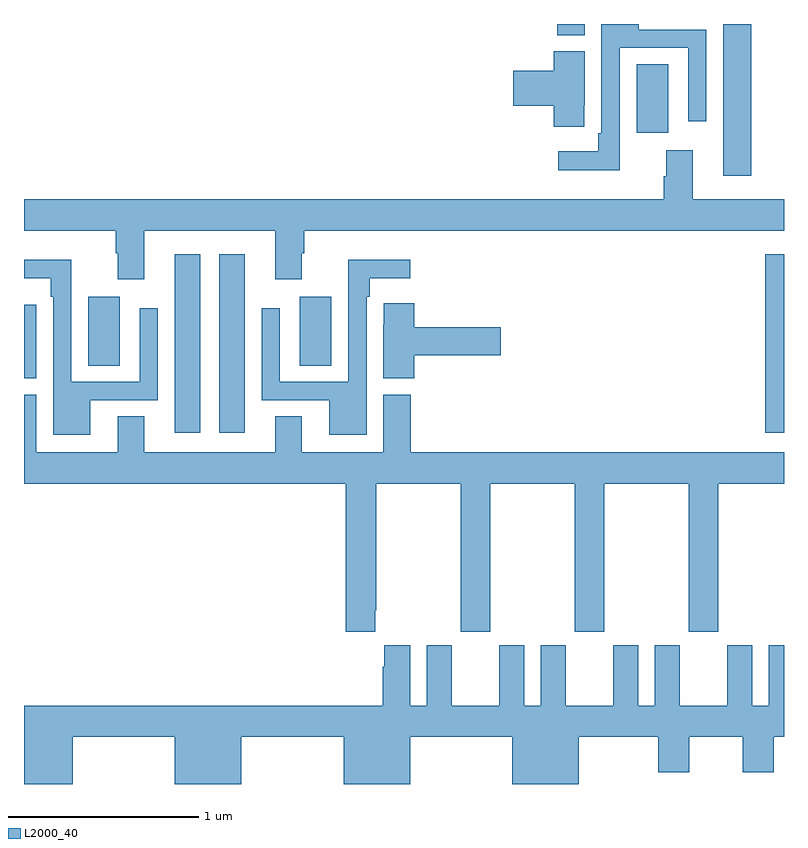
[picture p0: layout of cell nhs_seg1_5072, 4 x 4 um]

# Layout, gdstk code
import gdstk
lib = gdstk.Library(unit=1e-6, precision=1e-09)
def R(c, l, rs):  # rectangles x0, y0, x1, y1
    for r in rs: c.add(gdstk.rectangle(r[:2], r[2:], *l))
def P(c, l, *ps):  # polygons
    for p in ps: c.add(gdstk.Polygon(p, *l))
L2000_40 = (2000, 40)

nhs_seg1_5072 = lib.new_cell('nhs_seg1_5072')
R(nhs_seg1_5072, L2000_40, [(387.794,504.048,387.928,504.988), (388.028,504.048,388.162,504.988), (390.902,504.048,391,504.988), (387,504.334,387.064,504.721), (387.338,504.4,387.505,504.763), (388.451,504.4,388.618,504.763), (390.68,505.401,390.827,506.199), (390.224,505.626,390.391,505.988), (389.807,506.14,389.95,506.199)])
P(nhs_seg1_5072, L2000_40, [(390.135,506.073),(390.495,506.073),(390.495,505.686),(390.591,505.686),(390.591,506.169),(390.235,506.169),(390.235,506.199),(390.039,506.199),(390.039,505.624),(390.023,505.624),(390.023,505.528),(389.811,505.528),(389.811,505.43),(390.135,505.43)],
  [(389.949,505.771),(389.95,505.771),(389.95,506.055),(389.789,506.055),(389.789,505.952),(389.574,505.952),(389.574,505.769),(389.789,505.769),(389.789,505.659),(389.949,505.659)],
  [(387.634,505.112),(388.322,505.112),(388.322,504.855),(388.462,504.855),(388.462,504.992),(388.475,504.992),(388.475,505.112),(391,505.112),(391,505.276),(390.52,505.276),(390.52,505.534),(390.38,505.534),(390.38,505.397),(390.368,505.397),(390.368,505.276),(387,505.276),(387,505.112),(387.482,505.112),(387.482,504.992),(387.494,504.992),(387.494,504.855),(387.634,504.855)],
  [(387.349,504.219),(387.705,504.219),(387.705,504.703),(387.609,504.703),(387.609,504.315),(387.249,504.315),(387.249,504.958),(387,504.958),(387,504.86),(387.141,504.86),(387.141,504.764),(387.153,504.764),(387.153,504.038),(387.349,504.038)],
  [(388.803,504.764),(388.819,504.764),(388.819,504.86),(389.032,504.86),(389.032,504.958),(388.707,504.958),(388.707,504.315),(388.347,504.315),(388.347,504.703),(388.251,504.703),(388.251,504.219),(388.607,504.219),(388.607,504.038),(388.803,504.038)],
  [(389.054,504.455),(389.509,504.455),(389.509,504.602),(389.054,504.602),(389.054,504.73),(388.893,504.73),(388.893,504.617),(388.892,504.617),(388.892,504.334),(389.054,504.334)],
  [(388.462,504.134),(388.322,504.134),(388.322,503.944),(387.634,503.944),(387.634,504.134),(387.494,504.134),(387.494,503.944),(387.064,503.944),(387.064,504.249),(387,504.249),(387,503.78),(388.694,503.78),(388.694,503.001),(388.849,503.001),(388.849,503.113),(388.854,503.113),(388.854,503.78),(389.299,503.78),(389.299,503.001),(389.454,503.001),(389.454,503.78),(389.899,503.78),(389.899,503.001),(390.054,503.001),(390.054,503.78),(390.499,503.78),(390.499,503.001),(390.654,503.001),(390.654,503.78),(391,503.78),(391,503.944),(389.036,503.944),(389.036,504.249),(388.892,504.249),(388.892,503.944),(388.462,503.944)],
  [(387.256,502.448),(387.794,502.448),(387.794,502.199),(388.144,502.199),(388.144,502.448),(388.682,502.448),(388.682,502.199),(389.032,502.199),(389.032,502.448),(389.57,502.448),(389.57,502.199),(389.92,502.199),(389.92,502.448),(390.338,502.448),(390.338,502.26),(390.502,502.26),(390.502,502.448),(390.782,502.448),(390.782,502.26),(390.946,502.26),(390.946,502.448),(391,502.448),(391,502.93),(390.92,502.93),(390.92,502.612),(390.832,502.612),(390.832,502.93),(390.701,502.93),(390.701,502.612),(390.451,502.612),(390.451,502.93),(390.32,502.93),(390.32,502.612),(390.232,502.612),(390.232,502.93),(390.101,502.93),(390.101,502.612),(389.851,502.612),(389.851,502.93),(389.72,502.93),(389.72,502.612),(389.632,502.612),(389.632,502.93),(389.501,502.93),(389.501,502.612),(389.251,502.612),(389.251,502.93),(389.12,502.93),(389.12,502.612),(389.032,502.612),(389.032,502.93),(388.895,502.93),(388.895,502.817),(388.889,502.817),(388.889,502.612),(387,502.612),(387,502.199),(387.256,502.199)])

lib.write_gds('nhs_seg1_5072.gds')
